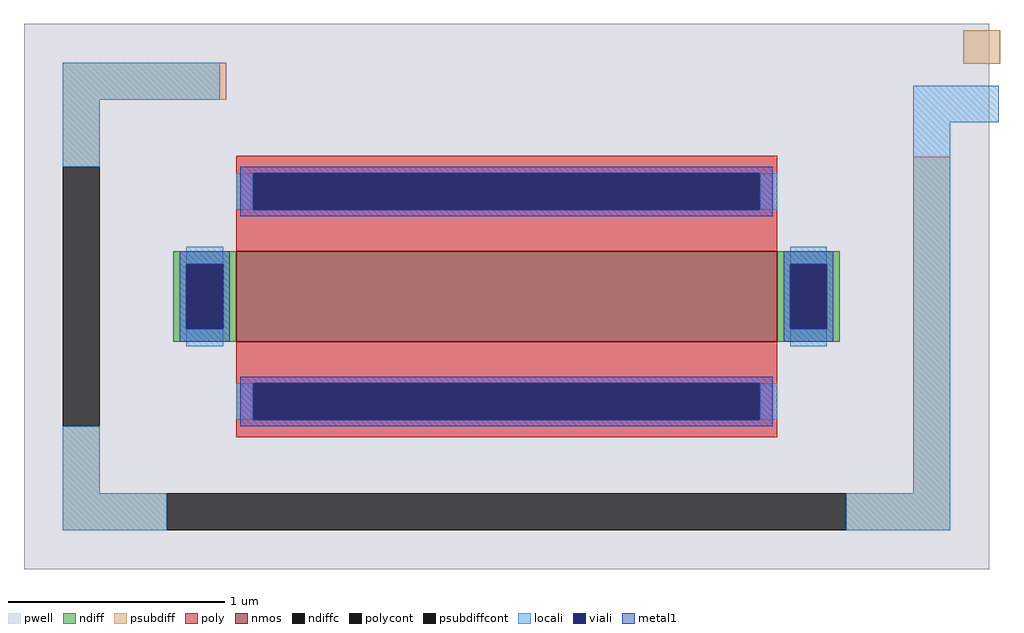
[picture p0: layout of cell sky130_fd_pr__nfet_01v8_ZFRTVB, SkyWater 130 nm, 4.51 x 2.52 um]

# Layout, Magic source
magic
tech sky130A
magscale 1 2
<< pwell >>
rect -446 -252 446 252
<< nmos >>
rect -250 -42 250 42
<< ndiff >>
rect -308 30 -250 42
rect -308 -30 -296 30
rect -262 -30 -250 30
rect -308 -42 -250 -30
rect 250 30 308 42
rect 250 -30 262 30
rect 296 -30 308 30
rect 250 -42 308 -30
<< ndiffc >>
rect -296 -30 -262 30
rect 262 -30 296 30
<< psubdiff >>
rect -410 182 -259 216
rect 422 215 456 246
rect -410 120 -376 182
rect -410 -182 -376 -120
rect 376 -182 410 129
rect -410 -216 -314 -182
rect 314 -216 410 -182
<< psubdiffcont >>
rect -410 -120 -376 120
rect -314 -216 314 -182
<< poly >>
rect -250 114 250 130
rect -250 80 -234 114
rect 234 80 250 114
rect -250 42 250 80
rect -250 -80 250 -42
rect -250 -114 -234 -80
rect 234 -114 250 -80
rect -250 -130 250 -114
<< polycont >>
rect -234 80 234 114
rect -234 -114 234 -80
<< locali >>
rect -410 182 -265 216
rect -410 120 -376 182
rect 376 161 455 195
rect -250 80 -234 114
rect 234 80 250 114
rect -296 30 -262 46
rect -296 -46 -262 -30
rect 262 30 296 46
rect 262 -46 296 -30
rect -250 -114 -234 -80
rect 234 -114 250 -80
rect -410 -182 -376 -120
rect 376 -182 410 161
rect -410 -216 -314 -182
rect 314 -216 410 -182
<< viali >>
rect -234 80 234 114
rect -296 -30 -262 30
rect 262 -30 296 30
rect -234 -114 234 -80
<< metal1 >>
rect -246 114 246 120
rect -246 80 -234 114
rect 234 80 246 114
rect -246 74 246 80
rect -302 30 -256 42
rect -302 -30 -296 30
rect -262 -30 -256 30
rect -302 -42 -256 -30
rect 256 30 302 42
rect 256 -30 262 30
rect 296 -30 302 30
rect 256 -42 302 -30
rect -246 -80 246 -74
rect -246 -114 -234 -80
rect 234 -114 246 -80
rect -246 -120 246 -114
<< properties >>
string FIXED_BBOX -392 -198 392 198
string gencell sky130_fd_pr__nfet_01v8
string library sky130
string parameters w 0.42 l 2.5 m 1 nf 1 diffcov 100 polycov 100 guard 1 glc 1 grc 1 gtc 1 gbc 1 tbcov 100 rlcov 100 topc 1 botc 1 poverlap 0 doverlap 1 lmin 0.15 wmin 0.42 compatible {sky130_fd_pr__nfet_01v8 sky130_fd_pr__nfet_01v8_lvt  sky130_fd_bs_flash__special_sonosfet_star  sky130_fd_pr__nfet_g5v0d10v5 sky130_fd_pr__nfet_05v0_nvt  sky130_fd_pr__nfet_03v3_nvt} full_metal 1 viasrc 100 viadrn 100 viagate 100 viagb 0 viagr 0 viagl 0 viagt 0
<< end >>
